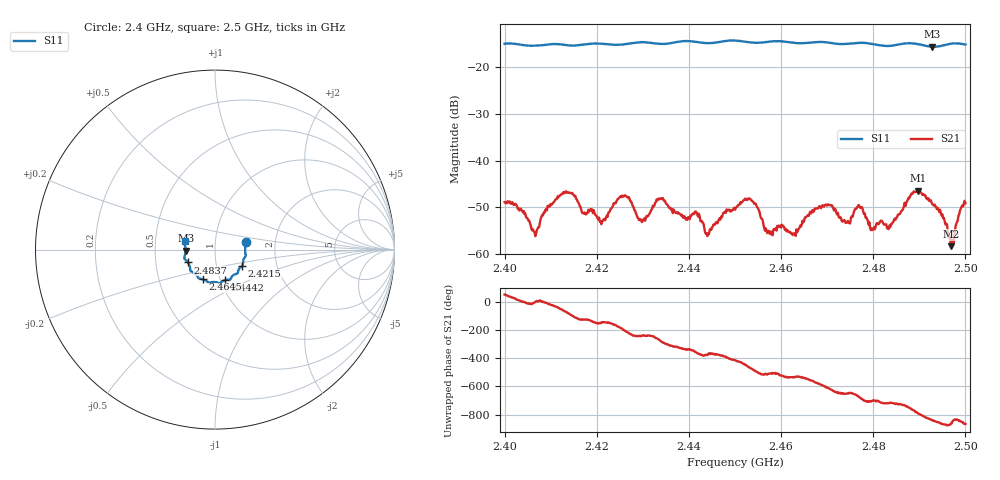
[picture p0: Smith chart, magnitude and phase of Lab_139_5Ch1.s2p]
# Hz S RI R 50
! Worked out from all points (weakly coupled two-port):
!   601 points, 2.4 GHz to 2.5 GHz, reference 50 ohm
!   highest |S21| = -46.40 dB at 2.4897 GHz (marker M1); lowest = -58.2 dB at 2.4968 GHz (marker M2)
!   lowest |S11| = -15.7 dB at 2.4928 GHz (marker M3), VSWR 1.39, Z = 36 - j0.386 ohm
!   |S11| at or under -10 dB: start of sweep to end of sweep
!   S12 and S22 are empty: the file has one direction only
!   S11 on the Smith chart (normalised r, x): 2.4 GHz: 1.41, +0.12; 2.4215 GHz: 1.33, -0.25; 2.4442 GHz: 1.05, -0.37; 2.4645 GHz: 0.83, -0.29; 2.4837 GHz: 0.73, -0.11; 2.5 GHz: 0.71, +0.07
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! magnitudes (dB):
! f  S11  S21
! 2.4 GHz  -15.1  -48.9
! 2.4065 GHz  -15.5  -55.3
! 2.4128 GHz  -15.3  -46.7
! 2.4167 GHz  -15.3  -50.6
! 2.4215 GHz  -15.1  -52.5
! 2.4255 GHz  -15.3  -47.5
! 2.4297 GHz  -14.8  -52.9
! 2.4333 GHz  -15.1  -48.3
! 2.4442 GHz  -15.0  -55.5
! 2.45 GHz  -14.4  -50.5
! 2.4535 GHz  -14.8  -48.5
! 2.4577 GHz  -14.6  -55.7
! 2.4645 GHz  -15.0  -53.6
! 2.4667 GHz  -14.8  -50.8
! 2.4745 GHz  -15.1  -52.9
! 2.4772 GHz  -14.9  -50.1
! 2.4833 GHz  -15.6  -54.6
! 2.4837 GHz  -15.5  -54.3
! 2.4897 GHz  -15.1  -46.4
! 2.4928 GHz  -15.7  -49.3
! 2.4968 GHz  -15.1  -58.2
! 2.5 GHz  -15.3  -49.1
